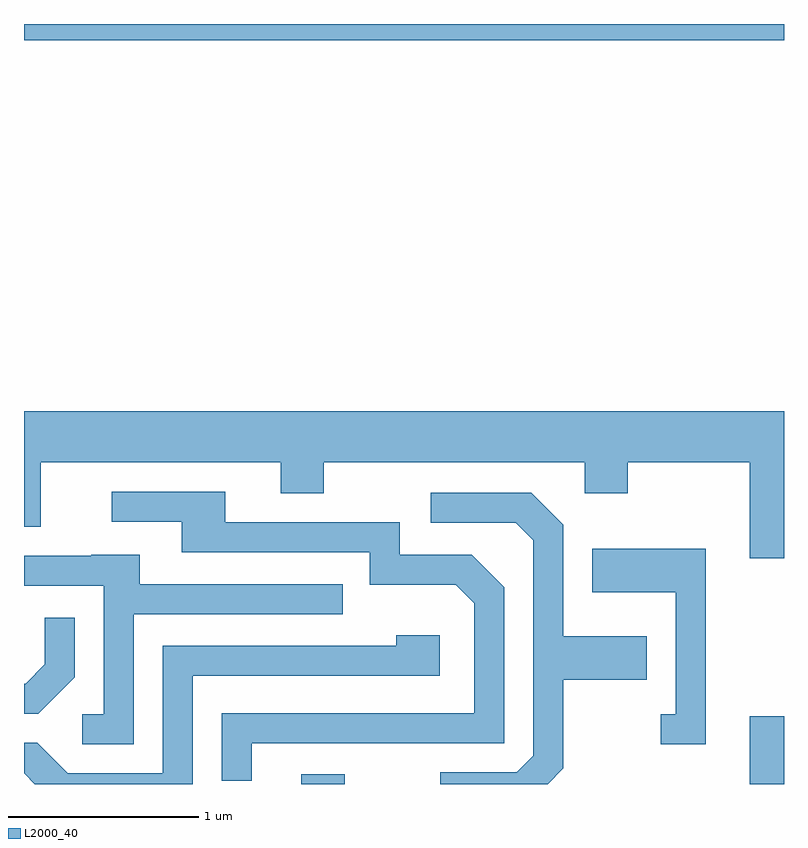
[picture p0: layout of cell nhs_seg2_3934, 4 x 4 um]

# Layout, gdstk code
import gdstk
lib = gdstk.Library(unit=1e-6, precision=1e-09)
def R(c, l, rs):  # rectangles x0, y0, x1, y1
    for r in rs: c.add(gdstk.rectangle(r[:2], r[2:], *l))
def P(c, l, *ps):  # polygons
    for p in ps: c.add(gdstk.Polygon(p, *l))
L2000_40 = (2000, 40)

nhs_seg2_3934 = lib.new_cell('nhs_seg2_3934')
R(nhs_seg2_3934, L2000_40, [(303.071,977.802,303.299,977.854), (305.431,977.802,305.611,978.159), (301.611,981.716,305.611,981.802)])
P(nhs_seg2_3934, L2000_40, [(305.611,979.764),(301.611,979.764),(301.611,979.156),(301.699,979.156),(301.699,979.496),(302.961,979.496),(302.961,979.331),(303.189,979.331),(303.189,979.496),(304.561,979.496),(304.561,979.331),(304.789,979.331),(304.789,979.496),(305.431,979.496),(305.431,978.991),(305.611,978.991)],
  [(302.809,978.016),(304.139,978.016),(304.139,978.837),(303.967,979.009),(303.589,979.009),(303.589,979.179),(302.669,979.179),(302.669,979.339),(302.073,979.339),(302.073,979.181),(302.441,979.181),(302.441,979.021),(303.431,979.021),(303.431,978.851),(303.884,978.851),(303.981,978.754),(303.981,978.174),(302.651,978.174),(302.651,977.818),(302.809,977.818)],
  [(304.449,977.884),(304.449,978.351),(304.889,978.351),(304.889,978.579),(304.449,978.579),(304.449,979.167),(304.282,979.334),(303.753,979.334),(303.753,979.176),(304.199,979.176),(304.291,979.084),(304.291,977.952),(304.204,977.864),(303.803,977.864),(303.803,977.802),(304.367,977.802)],
  [(305.199,979.039),(304.601,979.039),(304.601,978.811),(305.041,978.811),(305.041,978.169),(304.963,978.169),(304.963,978.011),(305.199,978.011)],
  [(302.189,978.696),(303.288,978.696),(303.288,978.854),(302.219,978.854),(302.219,979.009),(301.965,979.009),(301.965,979.004),(301.611,979.004),(301.611,978.846),(302.031,978.846),(302.031,978.169),(301.918,978.169),(301.918,978.011),(302.189,978.011)],
  [(301.879,978.364),(301.879,978.678),(301.721,978.678),(301.721,978.432),(301.619,978.329),(301.611,978.329),(301.611,978.171),(301.687,978.171)],
  [(302.499,978.371),(303.799,978.371),(303.799,978.584),(303.571,978.584),(303.571,978.529),(302.341,978.529),(302.341,977.859),(301.842,977.859),(301.682,978.019),(301.611,978.019),(301.611,977.859),(301.668,977.802),(302.499,977.802)])

lib.write_gds('nhs_seg2_3934.gds')
